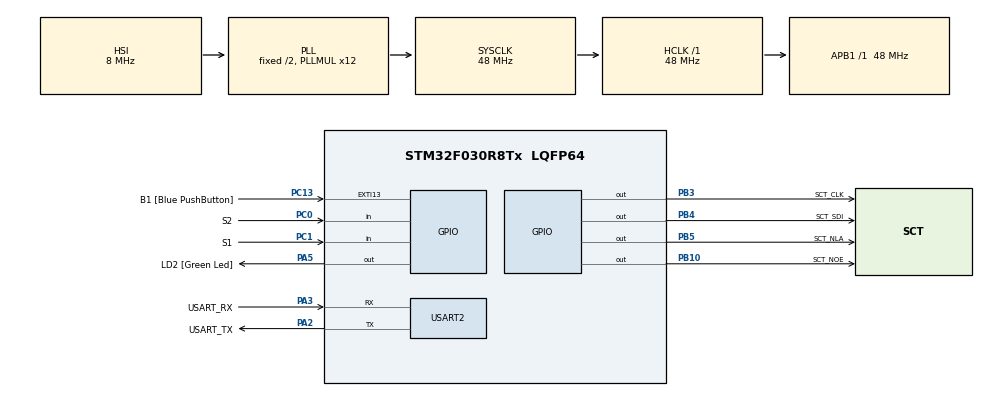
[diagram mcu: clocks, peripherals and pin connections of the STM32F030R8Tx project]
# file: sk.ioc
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Mcu.Family=STM32F0
Mcu.Name=STM32F030R8Tx
Mcu.Package=LQFP64
PA13.GPIO_Label=TMS
PA13.Mode=Serial_Wire
PA13.Signal=SYS_SWDIO
PA14.GPIO_Label=TCK
PA14.Mode=Serial_Wire
PA14.Signal=SYS_SWCLK
PA2.GPIO_Label=USART_TX
PA2.GPIO_Mode=GPIO_MODE_AF_PP
PA2.GPIO_PuPd=GPIO_NOPULL
PA2.GPIO_Speed=GPIO_SPEED_FREQ_LOW
PA2.Mode=Asynchronous
PA2.Signal=USART2_TX
PA3.GPIO_Label=USART_RX
PA3.GPIO_Mode=GPIO_MODE_AF_PP
PA3.GPIO_PuPd=GPIO_NOPULL
PA3.GPIO_Speed=GPIO_SPEED_FREQ_LOW
PA3.Mode=Asynchronous
PA3.Signal=USART2_RX
PA5.GPIO_Label=LD2 [Green Led]
PA5.GPIO_Mode=GPIO_MODE_OUTPUT_PP
PA5.GPIO_PuPd=GPIO_NOPULL
PA5.GPIO_Speed=GPIO_SPEED_FREQ_LOW
PA5.Signal=GPIO_Output
PB10.GPIO_Label=SCT_NOE
PB10.Signal=GPIO_Output
PB3.GPIO_Label=SCT_CLK
PB3.Signal=GPIO_Output
PB4.GPIO_Label=SCT_SDI
PB4.Signal=GPIO_Output
PB5.GPIO_Label=SCT_NLA
PB5.Signal=GPIO_Output
PC0.GPIO_Label=S2
PC0.GPIO_PuPd=GPIO_PULLUP
PC0.Signal=GPIO_Input
PC1.GPIO_Label=S1
PC1.GPIO_PuPd=GPIO_PULLUP
PC1.Signal=GPIO_Input
PC13.GPIO_Label=B1 [Blue PushButton]
PC13.GPIO_ModeDefaultEXTI=GPIO_MODE_IT_FALLING
PC13.Signal=GPXTI13
PC14-OSC32_IN.Mode=LSE-External-Oscillator
PC14-OSC32_IN.Signal=RCC_OSC32_IN
PC15-OSC32_OUT.Mode=LSE-External-Oscillator
PC15-OSC32_OUT.Signal=RCC_OSC32_OUT
PF0-OSC_IN.Mode=HSE-External-Clock-Source
PF0-OSC_IN.Signal=RCC_OSC_IN
PF1-OSC_OUT.Signal=RCC_OSC_OUT
ProjectManager.HeapSize=0x200
ProjectManager.StackSize=0x400
ProjectManager.TargetToolchain=STM32CubeIDE
RCC.AHBFreq_Value=48000000
RCC.APB1Freq_Value=48000000
RCC.APB1TimFreq_Value=48000000
RCC.HCLKFreq_Value=48000000
RCC.PLLMUL=RCC_PLL_MUL12
RCC.SYSCLKFreq_VALUE=48000000
RCC.SYSCLKSource=RCC_SYSCLKSOURCE_PLLCLK
USART2.VirtualMode-Asynchronous=VM_ASYNC
board=NUCLEO-F030R8

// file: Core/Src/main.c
/* USER CODE BEGIN Header */
/**
  ******************************************************************************
  * @file           : main.c
  * @brief          : Main program body
  ******************************************************************************
  * @attention
  *
  * Copyright (c) 2024 STMicroelectronics.
  * All rights reserved.
  *
  * This software is licensed under terms that can be found in the LICENSE file
  * in the root directory of this software component.
  * If no LICENSE file comes with this software, it is provided AS-IS.
  *
  ******************************************************************************
  */
/* USER CODE END Header */
#include "main.h"

/* USER CODE BEGIN Includes */
#include "sct.h"
/* USER CODE END Includes */

/* USER CODE BEGIN PD */
#define BTN_PERIOD_S1 50
#define BTN_PERIOD_S2 50
/* USER CODE END PD */

UART_HandleTypeDef huart2;

void SystemClock_Config(void);
static void MX_GPIO_Init(void);
static void MX_USART2_UART_Init(void);

int main(void)
{

  /* MCU Configuration--------------------------------------------------------*/

  /* Reset of all peripherals, Initializes the Flash interface and the Systick. */
  HAL_Init();

  /* Configure the system clock */
  SystemClock_Config();

  /* Initialize all configured peripherals */
  MX_GPIO_Init();
  MX_USART2_UART_Init();
  /* USER CODE BEGIN 2 */

  sct_init();

  /* USER CODE END 2 */

  /* Infinite loop */
  while (1)
  {

	  /* USER CODE BEGIN 3 */

	  static enum { RESET, START, STOP } state; // S2 state
	  static enum { NORMAL, LAP } display; // S1 state

	  static uint32_t delay_cnt = 0;
	  static uint16_t time = 0;
	  static uint16_t time_disp = 0;
	  static uint32_t last_time_s2 = 0;
	  static uint32_t last_time_s1 = 0;

	  if (HAL_GetTick() > last_time_s2 + BTN_PERIOD_S2) {
		  last_time_s2 = HAL_GetTick();
		  static uint32_t old_s2;
		  uint32_t new_s2 = HAL_GPIO_ReadPin(S2_GPIO_Port, S2_Pin);
		  if (old_s2 && !new_s2) {
			  switch (state) {
			  case START:
				  state = STOP;
				  break;
			  case RESET:
				  state = START;
				  break;
			  default:
				  state = RESET;
				  break;
			  }
		  }
		  old_s2 = new_s2;
	  }

	  switch (state) {
	  case START: // stopwatch running
		  if(HAL_GetTick() >= delay_cnt + 100) {
			  delay_cnt = HAL_GetTick();
			  time++;
		  }
		  if(time > 999) time = 0;
		  break;
	  case STOP:
		  delay_cnt = 0;
		  display = NORMAL;
		  break;
	  case RESET:
		  time = 0;
		  delay_cnt = 0;
		  display = NORMAL;
		  break;
	  }

	  if (HAL_GetTick() > last_time_s1 + BTN_PERIOD_S1) {
		  last_time_s1 = HAL_GetTick();
		  static uint32_t old_s1;
		  uint32_t new_s1 = HAL_GPIO_ReadPin(S1_GPIO_Port, S1_Pin);
		  if (old_s1 && !new_s1) {
			  switch (display) {
			  case NORMAL:
				  if (state == START) {
					  display = LAP;
					  time_disp = time;
				  }
				  break;
			  default:
				  display = NORMAL;
				  break;
			  }
		  }
		  old_s1 = new_s1;
	  }

	  switch (display) {
	  case LAP:
		  sct_value(time_disp, 0, 2);
		  break;
	  default:
		  sct_value(time, 0, 2);
		  break;
	  }
  }
  /* USER CODE END 3 */
}

void SystemClock_Config(void)
{
  RCC_OscInitTypeDef RCC_OscInitStruct = {0};
  RCC_ClkInitTypeDef RCC_ClkInitStruct = {0};

  /** Initializes the RCC Oscillators according to the specified parameters
  * in the RCC_OscInitTypeDef structure.
  */
  RCC_OscInitStruct.OscillatorType = RCC_OSCILLATORTYPE_HSI;
  RCC_OscInitStruct.HSIState = RCC_HSI_ON;
  RCC_OscInitStruct.HSICalibrationValue = RCC_HSICALIBRATION_DEFAULT;
  RCC_OscInitStruct.PLL.PLLState = RCC_PLL_ON;
  RCC_OscInitStruct.PLL.PLLSource = RCC_PLLSOURCE_HSI;
  RCC_OscInitStruct.PLL.PLLMUL = RCC_PLL_MUL12;
  RCC_OscInitStruct.PLL.PREDIV = RCC_PREDIV_DIV1;
  if (HAL_RCC_OscConfig(&RCC_OscInitStruct) != HAL_OK)
  {
    Error_Handler();
  }

  /** Initializes the CPU, AHB and APB buses clocks
  */
  RCC_ClkInitStruct.ClockType = RCC_CLOCKTYPE_HCLK|RCC_CLOCKTYPE_SYSCLK
                              |RCC_CLOCKTYPE_PCLK1;
  RCC_ClkInitStruct.SYSCLKSource = RCC_SYSCLKSOURCE_PLLCLK;
  RCC_ClkInitStruct.AHBCLKDivider = RCC_SYSCLK_DIV1;
  RCC_ClkInitStruct.APB1CLKDivider = RCC_HCLK_DIV1;

  if (HAL_RCC_ClockConfig(&RCC_ClkInitStruct, FLASH_LATENCY_1) != HAL_OK)
  {
    Error_Handler();
  }
}

static void MX_USART2_UART_Init(void)
{

  huart2.Instance = USART2;
  huart2.Init.BaudRate = 38400;
  huart2.Init.WordLength = UART_WORDLENGTH_8B;
  huart2.Init.StopBits = UART_STOPBITS_1;
  huart2.Init.Parity = UART_PARITY_NONE;
  huart2.Init.Mode = UART_MODE_TX_RX;
  huart2.Init.HwFlowCtl = UART_HWCONTROL_NONE;
  huart2.Init.OverSampling = UART_OVERSAMPLING_16;
  huart2.Init.OneBitSampling = UART_ONE_BIT_SAMPLE_DISABLE;
  huart2.AdvancedInit.AdvFeatureInit = UART_ADVFEATURE_NO_INIT;
  if (HAL_UART_Init(&huart2) != HAL_OK)
  {
    Error_Handler();
  }

}

static void MX_GPIO_Init(void)
{
  GPIO_InitTypeDef GPIO_InitStruct = {0};

  /* GPIO Ports Clock Enable */
  __HAL_RCC_GPIOC_CLK_ENABLE();
  __HAL_RCC_GPIOF_CLK_ENABLE();
  __HAL_RCC_GPIOA_CLK_ENABLE();
  __HAL_RCC_GPIOB_CLK_ENABLE();

  /*Configure GPIO pin Output Level */
  HAL_GPIO_WritePin(LD2_GPIO_Port, LD2_Pin, GPIO_PIN_RESET);

  /*Configure GPIO pin Output Level */
  HAL_GPIO_WritePin(GPIOB, SCT_NOE_Pin|SCT_CLK_Pin|SCT_SDI_Pin|SCT_NLA_Pin, GPIO_PIN_RESET);

  /*Configure GPIO pin : B1_Pin */
  GPIO_InitStruct.Pin = B1_Pin;
  GPIO_InitStruct.Mode = GPIO_MODE_IT_FALLING;
  GPIO_InitStruct.Pull = GPIO_NOPULL;
  HAL_GPIO_Init(B1_GPIO_Port, &GPIO_InitStruct);

  /*Configure GPIO pins : S2_Pin S1_Pin */
  GPIO_InitStruct.Pin = S2_Pin|S1_Pin;
  GPIO_InitStruct.Mode = GPIO_MODE_INPUT;
  GPIO_InitStruct.Pull = GPIO_PULLUP;
  HAL_GPIO_Init(GPIOC, &GPIO_InitStruct);

  /*Configure GPIO pin : LD2_Pin */
  GPIO_InitStruct.Pin = LD2_Pin;
  GPIO_InitStruct.Mode = GPIO_MODE_OUTPUT_PP;
  GPIO_InitStruct.Pull = GPIO_NOPULL;
  GPIO_InitStruct.Speed = GPIO_SPEED_FREQ_LOW;
  HAL_GPIO_Init(LD2_GPIO_Port, &GPIO_InitStruct);

  /*Configure GPIO pins : SCT_NOE_Pin SCT_CLK_Pin SCT_SDI_Pin SCT_NLA_Pin */
  GPIO_InitStruct.Pin = SCT_NOE_Pin|SCT_CLK_Pin|SCT_SDI_Pin|SCT_NLA_Pin;
  GPIO_InitStruct.Mode = GPIO_MODE_OUTPUT_PP;
  GPIO_InitStruct.Pull = GPIO_NOPULL;
  GPIO_InitStruct.Speed = GPIO_SPEED_FREQ_LOW;
  HAL_GPIO_Init(GPIOB, &GPIO_InitStruct);

}

void Error_Handler(void)
{
  __disable_irq();
  while (1)
  {
  }
}
